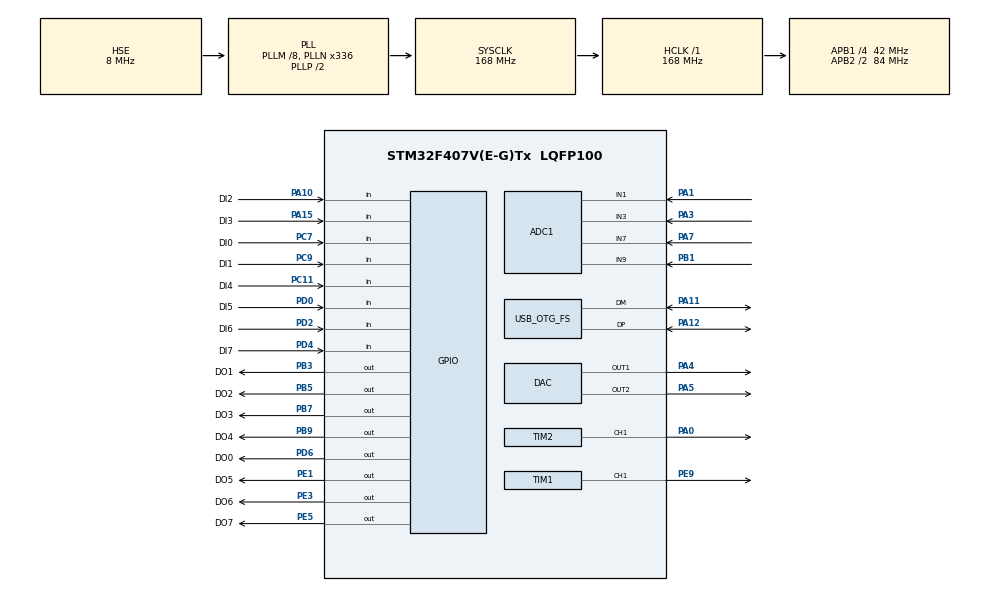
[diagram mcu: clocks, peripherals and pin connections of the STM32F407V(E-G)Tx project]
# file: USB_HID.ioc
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ADC1.Channel-1\#ChannelRegularConversion=ADC_CHANNEL_3
ADC1.Channel-7\#ChannelRegularConversion=ADC_CHANNEL_7
ADC1.Channel-8\#ChannelRegularConversion=ADC_CHANNEL_1
ADC1.Channel-9\#ChannelRegularConversion=ADC_CHANNEL_9
ADC1.ContinuousConvMode=ENABLE
ADC1.DMAContinuousRequests=ENABLE
ADC1.DiscontinuousConvMode=DISABLE
ADC1.NbrOfConversion=4
ADC1.NbrOfConversionFlag=1
ADC1.Rank-1\#ChannelRegularConversion=1
ADC1.Rank-7\#ChannelRegularConversion=2
ADC1.Rank-8\#ChannelRegularConversion=3
ADC1.Rank-9\#ChannelRegularConversion=4
ADC1.SamplingTime-1\#ChannelRegularConversion=ADC_SAMPLETIME_28CYCLES
ADC1.SamplingTime-7\#ChannelRegularConversion=ADC_SAMPLETIME_28CYCLES
ADC1.SamplingTime-8\#ChannelRegularConversion=ADC_SAMPLETIME_28CYCLES
ADC1.SamplingTime-9\#ChannelRegularConversion=ADC_SAMPLETIME_28CYCLES
ADC1.ScanConvMode=ENABLE
ADC1.master=1
Dma.ADC1.0.Direction=DMA_PERIPH_TO_MEMORY
Dma.ADC1.0.FIFOMode=DMA_FIFOMODE_DISABLE
Dma.ADC1.0.Instance=DMA2_Stream0
Dma.ADC1.0.MemDataAlignment=DMA_MDATAALIGN_HALFWORD
Dma.ADC1.0.MemInc=DMA_MINC_ENABLE
Dma.ADC1.0.Mode=DMA_CIRCULAR
Dma.ADC1.0.PeriphDataAlignment=DMA_PDATAALIGN_HALFWORD
Dma.ADC1.0.PeriphInc=DMA_PINC_DISABLE
Dma.ADC1.0.Priority=DMA_PRIORITY_LOW
Dma.Request0=ADC1
Mcu.Family=STM32F4
Mcu.Name=STM32F407V(E-G)Tx
Mcu.Package=LQFP100
NVIC.DMA2_Stream0_IRQn=true\:0\:0\:false\:false\:true\:false\:true
NVIC.OTG_FS_IRQn=true\:0\:0\:false\:false\:true\:true\:true
NVIC.PriorityGroup=NVIC_PRIORITYGROUP_4
PA0-WKUP.Signal=S_TIM2_CH1_ETR
PA1.Signal=ADCx_IN1
PA10.GPIO_Label=DI2
PA10.GPIO_PuPd=GPIO_PULLDOWN
PA10.Signal=GPIO_Input
PA11.Mode=Device_Only
PA11.Signal=USB_OTG_FS_DM
PA12.Mode=Device_Only
PA12.Signal=USB_OTG_FS_DP
PA15.GPIO_Label=DI3
PA15.GPIO_PuPd=GPIO_PULLDOWN
PA15.Signal=GPIO_Input
PA3.Signal=ADCx_IN3
PA4.Signal=COMP_DAC1_group
PA5.Signal=COMP_DAC2_group
PA7.Signal=ADCx_IN7
PB1.Signal=ADCx_IN9
PB3.GPIO_Label=DO1
PB3.Signal=GPIO_Output
PB5.GPIO_Label=DO2
PB5.Signal=GPIO_Output
PB7.GPIO_Label=DO3
PB7.Signal=GPIO_Output
PB9.GPIO_Label=DO4
PB9.Signal=GPIO_Output
PC11.GPIO_Label=DI4
PC11.GPIO_PuPd=GPIO_PULLDOWN
PC11.Signal=GPIO_Input
PC7.GPIO_Label=DI0
PC7.GPIO_PuPd=GPIO_PULLDOWN
PC7.Signal=GPIO_Input
PC9.GPIO_Label=DI1
PC9.GPIO_PuPd=GPIO_PULLDOWN
PC9.Signal=GPIO_Input
PD0.GPIO_Label=DI5
PD0.Signal=GPIO_Input
PD2.GPIO_Label=DI6
PD2.GPIO_PuPd=GPIO_PULLDOWN
PD2.Signal=GPIO_Input
PD4.GPIO_Label=DI7
PD4.GPIO_PuPd=GPIO_PULLDOWN
PD4.Signal=GPIO_Input
PD6.GPIO_Label=DO0
PD6.Signal=GPIO_Output
PE1.GPIO_Label=DO5
PE1.Signal=GPIO_Output
PE3.GPIO_Label=DO6
PE3.Signal=GPIO_Output
PE5.GPIO_Label=DO7
PE5.Signal=GPIO_Output
PE9.Signal=S_TIM1_CH1
PH0-OSC_IN.Mode=HSE-External-Oscillator
PH0-OSC_IN.Signal=RCC_OSC_IN
PH1-OSC_OUT.Mode=HSE-External-Oscillator
PH1-OSC_OUT.Signal=RCC_OSC_OUT
ProjectManager.HeapSize=0x200
ProjectManager.StackSize=0x400
ProjectManager.TargetToolchain=MDK-ARM V5.27
RCC.48MHZClocksFreq_Value=48000000
RCC.AHBFreq_Value=168000000
RCC.APB1CLKDivider=RCC_HCLK_DIV4
RCC.APB1Freq_Value=42000000
RCC.APB1TimFreq_Value=84000000
RCC.APB2CLKDivider=RCC_HCLK_DIV2
RCC.APB2Freq_Value=84000000
RCC.APB2TimFreq_Value=168000000
RCC.CortexFreq_Value=168000000
RCC.HCLKFreq_Value=168000000
RCC.HSE_VALUE=8000000
RCC.HSI_VALUE=16000000
RCC.LSE_VALUE=32768
RCC.PLLM=8
RCC.PLLN=336
RCC.PLLQ=7
RCC.SYSCLKFreq_VALUE=168000000
RCC.SYSCLKSource=RCC_SYSCLKSOURCE_PLLCLK
RCC.VCOOutputFreq_Value=336000000
SH.ADCx_IN1.0=ADC1_IN1,IN1
SH.ADCx_IN3.0=ADC1_IN3,IN3
SH.ADCx_IN7.0=ADC1_IN7,IN7
SH.ADCx_IN9.0=ADC1_IN9,IN9
SH.COMP_DAC1_group.0=DAC_OUT1,DAC_OUT1
SH.COMP_DAC2_group.0=DAC_OUT2,DAC_OUT2
SH.S_TIM1_CH1.0=TIM1_CH1,PWM Generation1 CH1
SH.S_TIM2_CH1_ETR.0=TIM2_CH1,PWM Generation1 CH1
TIM1.Channel-PWM\ Generation1\ CH1=TIM_CHANNEL_1
TIM1.Period=5599
TIM1.Pulse-PWM\ Generation1\ CH1=2800
TIM2.Channel-PWM\ Generation1\ CH1=TIM_CHANNEL_1
TIM2.Period=4199
TIM2.Pulse-PWM\ Generation1\ CH1=2099
USB_DEVICE.CLASS_NAME_FS=CUSTOM_HID
USB_DEVICE.MANUFACTURER_STRING-CUSTOM_HID_FS=Automation and Control Department
USB_DEVICE.PID_CUSTOMHID_FS=36055
USB_DEVICE.PRODUCT_STRING_CUSTOMHID_FS=PC-based measurement and control project
USB_DEVICE.USBD_CUSTOMHID_OUTREPORT_BUF_SIZE-CUSTOM_HID_FS=64
USB_DEVICE.USBD_CUSTOM_HID_REPORT_DESC_SIZE-CUSTOM_HID_FS=64
USB_DEVICE.VID-CUSTOM_HID_FS=3655
USB_DEVICE.VirtualMode-CUSTOM_HID_FS=CustomHid
USB_DEVICE.VirtualModeFS=Custom_Hid_FS
USB_OTG_FS.VirtualMode=Device_Only
VP_USB_DEVICE_VS_USB_DEVICE_CUSTOM_HID_FS.Mode=CUSTOM_HID_FS
board=custom

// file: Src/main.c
/* USER CODE BEGIN Header */
/**
  ******************************************************************************
  * @file           : main.c
  * @brief          : Main program body
  ******************************************************************************
  * @attention
  *
  * <h2><center>&copy; Copyright (c) 2020 STMicroelectronics.
  * All rights reserved.</center></h2>
  *
  * This software component is licensed by ST under Ultimate Liberty license
  * SLA0044, the "License"; You may not use this file except in compliance with
  * the License. You may obtain a copy of the License at:
  *                             www.st.com/SLA0044
  *
  ******************************************************************************
  */
/* USER CODE END Header */

#include "main.h"
#include "usb_device.h"

/* USER CODE BEGIN Includes */
#include "usbd_custom_hid_if.h"
/* USER CODE END Includes */

ADC_HandleTypeDef hadc1;
DMA_HandleTypeDef hdma_adc1;

DAC_HandleTypeDef hdac;

TIM_HandleTypeDef htim1;
TIM_HandleTypeDef htim2;

/* USER CODE BEGIN PV */
//uint8_t tx_data = 'a';
struct rx {
	char IDENTIFIER[16];
	uint16_t HEADER_SIZE;
	uint16_t DATA_SIZE;
	uint8_t DO[8];
	float DAC_VOLTAGE[2];
	uint16_t PWM_FRE[2];
	uint16_t PWM_DUTY[2];
} rx_data;

struct tx {
	char IDENTIFIER[16];
	uint16_t HEADER_SIZE;
	uint16_t DATA_SIZE;
	uint8_t DI[8];
	float ADC_VOLTAGE[4];
};
struct tx tx_data = {
	{'T','R','I','E','N','L','O','N','G','T','I','N','H','0','0','0'},
	20,
	24
};
int tx_number;
int rx_number;
uint16_t tick = 0;
uint16_t adc_value[4];
uint8_t buff[44];
/* USER CODE END PV */

void SystemClock_Config(void);
static void MX_GPIO_Init(void);
static void MX_DMA_Init(void);
static void MX_ADC1_Init(void);
static void MX_DAC_Init(void);
static void MX_TIM1_Init(void);
static void MX_TIM2_Init(void);
/* USER CODE BEGIN PFP */
void SendData(void);
/* USER CODE END PFP */

/* USER CODE BEGIN 0 */
extern int8_t USBD_CUSTOM_HID_SendReport_FS(uint8_t *report, uint16_t len);
/* USER CODE END 0 */

int main(void)
{

  /* MCU Configuration--------------------------------------------------------*/

  /* Reset of all peripherals, Initializes the Flash interface and the Systick. */
  HAL_Init();

  /* Configure the system clock */
  SystemClock_Config();

  /* Initialize all configured peripherals */
  MX_GPIO_Init();
  MX_DMA_Init();
  MX_USB_DEVICE_Init();
  MX_ADC1_Init();
  MX_DAC_Init();
  MX_TIM1_Init();
  MX_TIM2_Init();
  /* USER CODE BEGIN 2 */
	tx_number = sizeof(tx_data);
	rx_number = sizeof(rx_data);

//	HAL_GPIO_WritePin(DO0_GPIO_Port, DO0_Pin, 1);
//	HAL_GPIO_WritePin(DO1_GPIO_Port, DO1_Pin, 1);
//	HAL_GPIO_WritePin(DO2_GPIO_Port, DO2_Pin, 1);
//	HAL_GPIO_WritePin(DO3_GPIO_Port, DO3_Pin, 1);
//	HAL_GPIO_WritePin(DO4_GPIO_Port, DO4_Pin, 1);
//	HAL_GPIO_WritePin(DO5_GPIO_Port, DO5_Pin, 1);
//	HAL_GPIO_WritePin(DO6_GPIO_Port, DO6_Pin, 1);
//	HAL_GPIO_WritePin(DO7_GPIO_Port, DO7_Pin, 1);
//
	HAL_DAC_Start(&hdac, DAC_CHANNEL_1);
	HAL_DAC_Start(&hdac, DAC_CHANNEL_2);
	HAL_DAC_SetValue(&hdac,DAC_CHANNEL_1, DAC_ALIGN_12B_R, (uint16_t) (2*4095/3.3));
	HAL_DAC_SetValue(&hdac,DAC_CHANNEL_2, DAC_ALIGN_12B_R, (uint16_t) (1*4095/3.3));
//
//
//	HAL_TIM_PWM_Stop(&htim1, TIM_CHANNEL_1);
//	HAL_TIM_PWM_Stop(&htim2, TIM_CHANNEL_1);
//	TIM_OC_InitTypeDef sConfigOC = {0};
//	sConfigOC.OCMode = TIM_OCMODE_PWM1;
//  sConfigOC.OCPolarity = TIM_OCPOLARITY_HIGH;
//  sConfigOC.OCFastMode = TIM_OCFAST_DISABLE;
//	htim1.Init.Period = 168000000/10000 - 1;
//	sConfigOC.Pulse = (htim1.Init.Period+1)*50/100;
//	HAL_TIM_PWM_ConfigChannel(&htim1, &sConfigOC, TIM_CHANNEL_1);
//	htim2.Init.Period = 84000000/10000- 1;
//  sConfigOC.Pulse = (htim2.Init.Period+1)*80/100;
//	HAL_TIM_PWM_ConfigChannel(&htim2, &sConfigOC, TIM_CHANNEL_1);
//	HAL_TIM_PWM_Start(&htim1, TIM_CHANNEL_1);
//	HAL_TIM_PWM_Start(&htim2, TIM_CHANNEL_1);

	HAL_ADC_Start_DMA(&hadc1,(uint32_t*)adc_value,4);
  /* USER CODE END 2 */

  /* Infinite loop */
  while (1)
  {

    /* USER CODE BEGIN 3 */
//		uint8_t buff[30];
//		memcpy(&buff,&tx_data,sizeof(tx_data));
//		USBD_CUSTOM_HID_SendReport_FS(buff, sizeof(tx_data));
//		HAL_Delay(500);
//		if(tx_data < 'z')
//		{
//			tx_data++;
//		}
//		else
//		{
//			tx_data = 'a';
//		}
//		HAL_Delay(1500);
  }
  /* USER CODE END 3 */
}

void SystemClock_Config(void)
{
  RCC_OscInitTypeDef RCC_OscInitStruct = {0};
  RCC_ClkInitTypeDef RCC_ClkInitStruct = {0};

  /** Configure the main internal regulator output voltage
  */
  __HAL_RCC_PWR_CLK_ENABLE();
  __HAL_PWR_VOLTAGESCALING_CONFIG(PWR_REGULATOR_VOLTAGE_SCALE1);
  /** Initializes the CPU, AHB and APB busses clocks
  */
  RCC_OscInitStruct.OscillatorType = RCC_OSCILLATORTYPE_HSE;
  RCC_OscInitStruct.HSEState = RCC_HSE_ON;
  RCC_OscInitStruct.PLL.PLLState = RCC_PLL_ON;
  RCC_OscInitStruct.PLL.PLLSource = RCC_PLLSOURCE_HSE;
  RCC_OscInitStruct.PLL.PLLM = 8;
  RCC_OscInitStruct.PLL.PLLN = 336;
  RCC_OscInitStruct.PLL.PLLP = RCC_PLLP_DIV2;
  RCC_OscInitStruct.PLL.PLLQ = 7;
  if (HAL_RCC_OscConfig(&RCC_OscInitStruct) != HAL_OK)
  {
    Error_Handler();
  }
  /** Initializes the CPU, AHB and APB busses clocks
  */
  RCC_ClkInitStruct.ClockType = RCC_CLOCKTYPE_HCLK|RCC_CLOCKTYPE_SYSCLK
                              |RCC_CLOCKTYPE_PCLK1|RCC_CLOCKTYPE_PCLK2;
  RCC_ClkInitStruct.SYSCLKSource = RCC_SYSCLKSOURCE_PLLCLK;
  RCC_ClkInitStruct.AHBCLKDivider = RCC_SYSCLK_DIV1;
  RCC_ClkInitStruct.APB1CLKDivider = RCC_HCLK_DIV4;
  RCC_ClkInitStruct.APB2CLKDivider = RCC_HCLK_DIV2;

  if (HAL_RCC_ClockConfig(&RCC_ClkInitStruct, FLASH_LATENCY_5) != HAL_OK)
  {
    Error_Handler();
  }
}

static void MX_ADC1_Init(void)
{

  ADC_ChannelConfTypeDef sConfig = {0};

  /** Configure the global features of the ADC (Clock, Resolution, Data Alignment and number of conversion)
  */
  hadc1.Instance = ADC1;
  hadc1.Init.ClockPrescaler = ADC_CLOCK_SYNC_PCLK_DIV4;
  hadc1.Init.Resolution = ADC_RESOLUTION_12B;
  hadc1.Init.ScanConvMode = ENABLE;
  hadc1.Init.ContinuousConvMode = ENABLE;
  hadc1.Init.DiscontinuousConvMode = DISABLE;
  hadc1.Init.ExternalTrigConvEdge = ADC_EXTERNALTRIGCONVEDGE_NONE;
  hadc1.Init.ExternalTrigConv = ADC_SOFTWARE_START;
  hadc1.Init.DataAlign = ADC_DATAALIGN_RIGHT;
  hadc1.Init.NbrOfConversion = 4;
  hadc1.Init.DMAContinuousRequests = ENABLE;
  hadc1.Init.EOCSelection = ADC_EOC_SINGLE_CONV;
  if (HAL_ADC_Init(&hadc1) != HAL_OK)
  {
    Error_Handler();
  }
  /** Configure for the selected ADC regular channel its corresponding rank in the sequencer and its sample time.
  */
  sConfig.Channel = ADC_CHANNEL_3;
  sConfig.Rank = 1;
  sConfig.SamplingTime = ADC_SAMPLETIME_28CYCLES;
  if (HAL_ADC_ConfigChannel(&hadc1, &sConfig) != HAL_OK)
  {
    Error_Handler();
  }
  /** Configure for the selected ADC regular channel its corresponding rank in the sequencer and its sample time.
  */
  sConfig.Channel = ADC_CHANNEL_7;
  sConfig.Rank = 2;
  if (HAL_ADC_ConfigChannel(&hadc1, &sConfig) != HAL_OK)
  {
    Error_Handler();
  }
  /** Configure for the selected ADC regular channel its corresponding rank in the sequencer and its sample time.
  */
  sConfig.Channel = ADC_CHANNEL_1;
  sConfig.Rank = 3;
  if (HAL_ADC_ConfigChannel(&hadc1, &sConfig) != HAL_OK)
  {
    Error_Handler();
  }
  /** Configure for the selected ADC regular channel its corresponding rank in the sequencer and its sample time.
  */
  sConfig.Channel = ADC_CHANNEL_9;
  sConfig.Rank = 4;
  if (HAL_ADC_ConfigChannel(&hadc1, &sConfig) != HAL_OK)
  {
    Error_Handler();
  }

}

static void MX_DAC_Init(void)
{

  DAC_ChannelConfTypeDef sConfig = {0};

  /** DAC Initialization
  */
  hdac.Instance = DAC;
  if (HAL_DAC_Init(&hdac) != HAL_OK)
  {
    Error_Handler();
  }
  /** DAC channel OUT1 config
  */
  sConfig.DAC_Trigger = DAC_TRIGGER_NONE;
  sConfig.DAC_OutputBuffer = DAC_OUTPUTBUFFER_ENABLE;
  if (HAL_DAC_ConfigChannel(&hdac, &sConfig, DAC_CHANNEL_1) != HAL_OK)
  {
    Error_Handler();
  }
  /** DAC channel OUT2 config
  */
  if (HAL_DAC_ConfigChannel(&hdac, &sConfig, DAC_CHANNEL_2) != HAL_OK)
  {
    Error_Handler();
  }

}

static void MX_TIM1_Init(void)
{

  TIM_MasterConfigTypeDef sMasterConfig = {0};
  TIM_OC_InitTypeDef sConfigOC = {0};
  TIM_BreakDeadTimeConfigTypeDef sBreakDeadTimeConfig = {0};

  htim1.Instance = TIM1;
  htim1.Init.Prescaler = 0;
  htim1.Init.CounterMode = TIM_COUNTERMODE_UP;
  htim1.Init.Period = 5599;
  htim1.Init.ClockDivision = TIM_CLOCKDIVISION_DIV1;
  htim1.Init.RepetitionCounter = 0;
  htim1.Init.AutoReloadPreload = TIM_AUTORELOAD_PRELOAD_DISABLE;
  if (HAL_TIM_PWM_Init(&htim1) != HAL_OK)
  {
    Error_Handler();
  }
  sMasterConfig.MasterOutputTrigger = TIM_TRGO_RESET;
  sMasterConfig.MasterSlaveMode = TIM_MASTERSLAVEMODE_DISABLE;
  if (HAL_TIMEx_MasterConfigSynchronization(&htim1, &sMasterConfig) != HAL_OK)
  {
    Error_Handler();
  }
  sConfigOC.OCMode = TIM_OCMODE_PWM1;
  sConfigOC.Pulse = 2800;
  sConfigOC.OCPolarity = TIM_OCPOLARITY_HIGH;
  sConfigOC.OCNPolarity = TIM_OCNPOLARITY_HIGH;
  sConfigOC.OCFastMode = TIM_OCFAST_DISABLE;
  sConfigOC.OCIdleState = TIM_OCIDLESTATE_RESET;
  sConfigOC.OCNIdleState = TIM_OCNIDLESTATE_RESET;
  if (HAL_TIM_PWM_ConfigChannel(&htim1, &sConfigOC, TIM_CHANNEL_1) != HAL_OK)
  {
    Error_Handler();
  }
  sBreakDeadTimeConfig.OffStateRunMode = TIM_OSSR_DISABLE;
  sBreakDeadTimeConfig.OffStateIDLEMode = TIM_OSSI_DISABLE;
  sBreakDeadTimeConfig.LockLevel = TIM_LOCKLEVEL_OFF;
  sBreakDeadTimeConfig.DeadTime = 0;
  sBreakDeadTimeConfig.BreakState = TIM_BREAK_DISABLE;
  sBreakDeadTimeConfig.BreakPolarity = TIM_BREAKPOLARITY_HIGH;
  sBreakDeadTimeConfig.AutomaticOutput = TIM_AUTOMATICOUTPUT_DISABLE;
  if (HAL_TIMEx_ConfigBreakDeadTime(&htim1, &sBreakDeadTimeConfig) != HAL_OK)
  {
    Error_Handler();
  }
  HAL_TIM_MspPostInit(&htim1);

}

static void MX_TIM2_Init(void)
{

  TIM_MasterConfigTypeDef sMasterConfig = {0};
  TIM_OC_InitTypeDef sConfigOC = {0};

  htim2.Instance = TIM2;
  htim2.Init.Prescaler = 0;
  htim2.Init.CounterMode = TIM_COUNTERMODE_UP;
  htim2.Init.Period = 4199;
  htim2.Init.ClockDivision = TIM_CLOCKDIVISION_DIV1;
  htim2.Init.AutoReloadPreload = TIM_AUTORELOAD_PRELOAD_DISABLE;
  if (HAL_TIM_PWM_Init(&htim2) != HAL_OK)
  {
    Error_Handler();
  }
  sMasterConfig.MasterOutputTrigger = TIM_TRGO_RESET;
  sMasterConfig.MasterSlaveMode = TIM_MASTERSLAVEMODE_DISABLE;
  if (HAL_TIMEx_MasterConfigSynchronization(&htim2, &sMasterConfig) != HAL_OK)
  {
    Error_Handler();
  }
  sConfigOC.OCMode = TIM_OCMODE_PWM1;
  sConfigOC.Pulse = 2099;
  sConfigOC.OCPolarity = TIM_OCPOLARITY_HIGH;
  sConfigOC.OCFastMode = TIM_OCFAST_DISABLE;
  if (HAL_TIM_PWM_ConfigChannel(&htim2, &sConfigOC, TIM_CHANNEL_1) != HAL_OK)
  {
    Error_Handler();
  }
  HAL_TIM_MspPostInit(&htim2);

}

static void MX_DMA_Init(void)
{

  /* DMA controller clock enable */
  __HAL_RCC_DMA2_CLK_ENABLE();

  /* DMA interrupt init */
  /* DMA2_Stream0_IRQn interrupt configuration */
  HAL_NVIC_SetPriority(DMA2_Stream0_IRQn, 0, 0);
  HAL_NVIC_EnableIRQ(DMA2_Stream0_IRQn);

}

static void MX_GPIO_Init(void)
{
  GPIO_InitTypeDef GPIO_InitStruct = {0};

  /* GPIO Ports Clock Enable */
  __HAL_RCC_GPIOE_CLK_ENABLE();
  __HAL_RCC_GPIOH_CLK_ENABLE();
  __HAL_RCC_GPIOA_CLK_ENABLE();
  __HAL_RCC_GPIOB_CLK_ENABLE();
  __HAL_RCC_GPIOC_CLK_ENABLE();
  __HAL_RCC_GPIOD_CLK_ENABLE();

  /*Configure GPIO pin Output Level */
  HAL_GPIO_WritePin(GPIOE, DO6_Pin|DO7_Pin|DO5_Pin, GPIO_PIN_RESET);

  /*Configure GPIO pin Output Level */
  HAL_GPIO_WritePin(DO0_GPIO_Port, DO0_Pin, GPIO_PIN_RESET);

  /*Configure GPIO pin Output Level */
  HAL_GPIO_WritePin(GPIOB, DO1_Pin|DO2_Pin|DO3_Pin|DO4_Pin, GPIO_PIN_RESET);

  /*Configure GPIO pins : DO6_Pin DO7_Pin DO5_Pin */
  GPIO_InitStruct.Pin = DO6_Pin|DO7_Pin|DO5_Pin;
  GPIO_InitStruct.Mode = GPIO_MODE_OUTPUT_PP;
  GPIO_InitStruct.Pull = GPIO_NOPULL;
  GPIO_InitStruct.Speed = GPIO_SPEED_FREQ_LOW;
  HAL_GPIO_Init(GPIOE, &GPIO_InitStruct);

  /*Configure GPIO pins : DI0_Pin DI1_Pin DI4_Pin */
  GPIO_InitStruct.Pin = DI0_Pin|DI1_Pin|DI4_Pin;
  GPIO_InitStruct.Mode = GPIO_MODE_INPUT;
  GPIO_InitStruct.Pull = GPIO_PULLDOWN;
  HAL_GPIO_Init(GPIOC, &GPIO_InitStruct);

  /*Configure GPIO pins : DI2_Pin DI3_Pin */
  GPIO_InitStruct.Pin = DI2_Pin|DI3_Pin;
  GPIO_InitStruct.Mode = GPIO_MODE_INPUT;
  GPIO_InitStruct.Pull = GPIO_PULLDOWN;
  HAL_GPIO_Init(GPIOA, &GPIO_InitStruct);

  /*Configure GPIO pin : DI5_Pin */
  GPIO_InitStruct.Pin = DI5_Pin;
  GPIO_InitStruct.Mode = GPIO_MODE_INPUT;
  GPIO_InitStruct.Pull = GPIO_NOPULL;
  HAL_GPIO_Init(DI5_GPIO_Port, &GPIO_InitStruct);

  /*Configure GPIO pins : DI6_Pin DI7_Pin */
  GPIO_InitStruct.Pin = DI6_Pin|DI7_Pin;
  GPIO_InitStruct.Mode = GPIO_MODE_INPUT;
  GPIO_InitStruct.Pull = GPIO_PULLDOWN;
  HAL_GPIO_Init(GPIOD, &GPIO_InitStruct);

  /*Configure GPIO pin : DO0_Pin */
  GPIO_InitStruct.Pin = DO0_Pin;
  GPIO_InitStruct.Mode = GPIO_MODE_OUTPUT_PP;
  GPIO_InitStruct.Pull = GPIO_NOPULL;
  GPIO_InitStruct.Speed = GPIO_SPEED_FREQ_LOW;
  HAL_GPIO_Init(DO0_GPIO_Port, &GPIO_InitStruct);

  /*Configure GPIO pins : DO1_Pin DO2_Pin DO3_Pin DO4_Pin */
  GPIO_InitStruct.Pin = DO1_Pin|DO2_Pin|DO3_Pin|DO4_Pin;
  GPIO_InitStruct.Mode = GPIO_MODE_OUTPUT_PP;
  GPIO_InitStruct.Pull = GPIO_NOPULL;
  GPIO_InitStruct.Speed = GPIO_SPEED_FREQ_LOW;
  HAL_GPIO_Init(GPIOB, &GPIO_InitStruct);

}

/* USER CODE BEGIN 4 */
void SendData(void)
{

		memcpy(buff,&tx_data,44);
		USBD_CUSTOM_HID_SendReport_FS(buff, 44);
}
/* USER CODE END 4 */

void Error_Handler(void)
{
}

/************************ (C) COPYRIGHT STMicroelectronics *****END OF FILE****/
